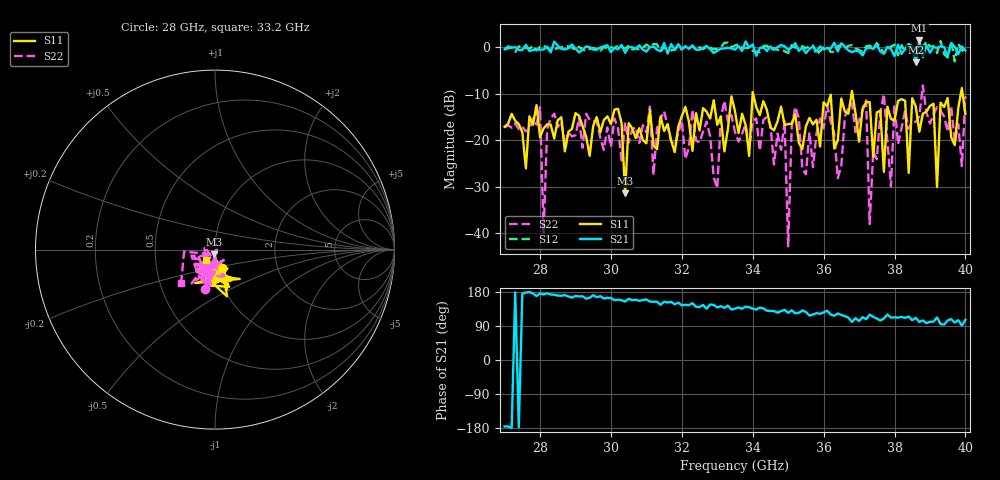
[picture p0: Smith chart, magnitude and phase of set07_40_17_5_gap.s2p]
! Quiescent point : V1=-1.64890E-02 I1=+1.28698E-03 V2=-2.16725E-02 I2=-1.26495E-03
! Pulsed point : V1=-1.63289E-02 I1=+1.28996E-03 V2=-2.22846E-02 I2=-1.29200E-03
! Period : +2.00000E-04
! Input Supply timing : delay=+1.60000E-06 width=+2.20000E-06
! Output Supply timing : delay=+1.70000E-06 width=+2.00000E-06
! VNA timing : delay=+2.40000E-06 width=+1.10000E-06
# Hz S RI R 50
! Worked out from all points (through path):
!   131 points, 27 GHz to 40 GHz, reference 50 ohm
!   highest |S21| = 1.42 dB at 38.7 GHz (marker M1); lowest = -3.3 dB at 38.6 GHz (marker M2)
!   group delay of S21, straight-line fit = 18.1 ps
!   lowest |S11| = -31.4 dB at 30.4 GHz (marker M3), VSWR 1.06, Z = 49.6 - j2.66 ohm
!   |S11| at or under -10 dB: start of sweep to 34 GHz; 34.01 GHz to 36.79 GHz (2.777 GHz wide, 7.84 % of centre); 36.81 GHz to 39.87 GHz (3.059 GHz wide, 7.98 % of centre)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
!   |S22| runs from -42.7 to -8.2 dB; largest |S21 - S12| = 0.33
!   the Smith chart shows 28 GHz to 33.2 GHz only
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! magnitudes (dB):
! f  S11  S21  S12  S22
! 27 GHz  -17.1  -0.5  -0.4  -17.2
! 28 GHz  -19.3  -0.6  0.2  -12.9
! 28.1 GHz  -17.5  -0.5  0.3  -39.8
! 28.3 GHz  -16.6  -1.1  -0.7  -15.3
! 29.2 GHz  -17.0  -0.6  -0.6  -21.6
! 30.2 GHz  -13.3  -0.5  0.3  -17.4
! 30.4 GHz  -31.4  -1.2  -0.3  -16.2
! 31.4 GHz  -14.9  -0.9  -0.9  -15.4
! 33.5 GHz  -13.8  -0.5  0.3  -18.3
! 34.9 GHz  -16.7  0.2  -0.9  -15.9
! 35 GHz  -16.5  -0.6  -1.3  -42.7
! 35.2 GHz  -14.4  0.8  -0.1  -12.9
! 35.7 GHz  -16.6  0.1  0.4  -25.8
! 37.2 GHz  -11.8  -0.3  0.1  -11.4
! 37.3 GHz  -11.8  -0.2  0.3  -38.0
! 37.7 GHz  -26.8  -1.4  -1.4  -10.1
! 37.9 GHz  -15.4  -0.4  0.1  -29.9
! 38 GHz  -15.8  -1.9  0.5  -12.3
! 38.6 GHz  -12.8  -3.3  -0.8  -16.1
! 38.7 GHz  -18.2  1.4  0.4  -14.8
! 39.9 GHz  -8.8  0.1  -0.6  -25.5
! 40 GHz  -14.3  -0.7  -1.6  -10.5
